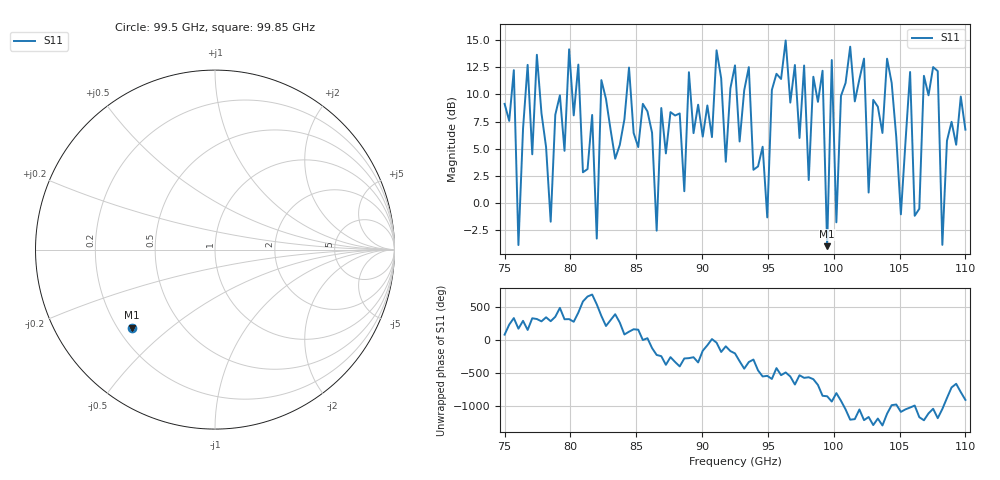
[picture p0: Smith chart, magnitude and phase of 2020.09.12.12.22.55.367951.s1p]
!Created with skrf (http://scikit-rf.org).
# GHz S RI R 50.0
!freq ReS11 ImS11
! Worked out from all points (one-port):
!   101 points, 75 GHz to 110 GHz, reference 50 ohm
!   lowest |S11| = -4.0 dB at 99.5 GHz (marker M1), VSWR 4.47, Z = 12.8 - j18.7 ohm
!   |S11| at or under -10 dB: nowhere
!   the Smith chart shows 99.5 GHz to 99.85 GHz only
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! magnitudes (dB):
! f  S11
! 75 GHz  9.1
! 75.7 GHz  12.2
! 76.05 GHz  -3.8
! 76.75 GHz  12.7
! 78.5 GHz  -1.7
! 79.55 GHz  4.8
! 79.9 GHz  14.1
! 83.75 GHz  5.4
! 86.55 GHz  -2.5
! 88.3 GHz  8.2
! 92.5 GHz  12.7
! 94.95 GHz  -1.3
! 95.3 GHz  10.4
! 97.05 GHz  12.7
! 98.1 GHz  2.1
! 99.15 GHz  12.2
! 99.5 GHz  -4.0
! 99.85 GHz  13.2
! 100.2 GHz  -1.8
! 101.2 GHz  14.4
! 102.7 GHz  1.0
! 104 GHz  13.3
! 105.1 GHz  -1.0
! 105.8 GHz  12.1
! 106.2 GHz  -1.2
! 107.9 GHz  12.1
! 108.2 GHz  -3.8
! 110 GHz  6.8
